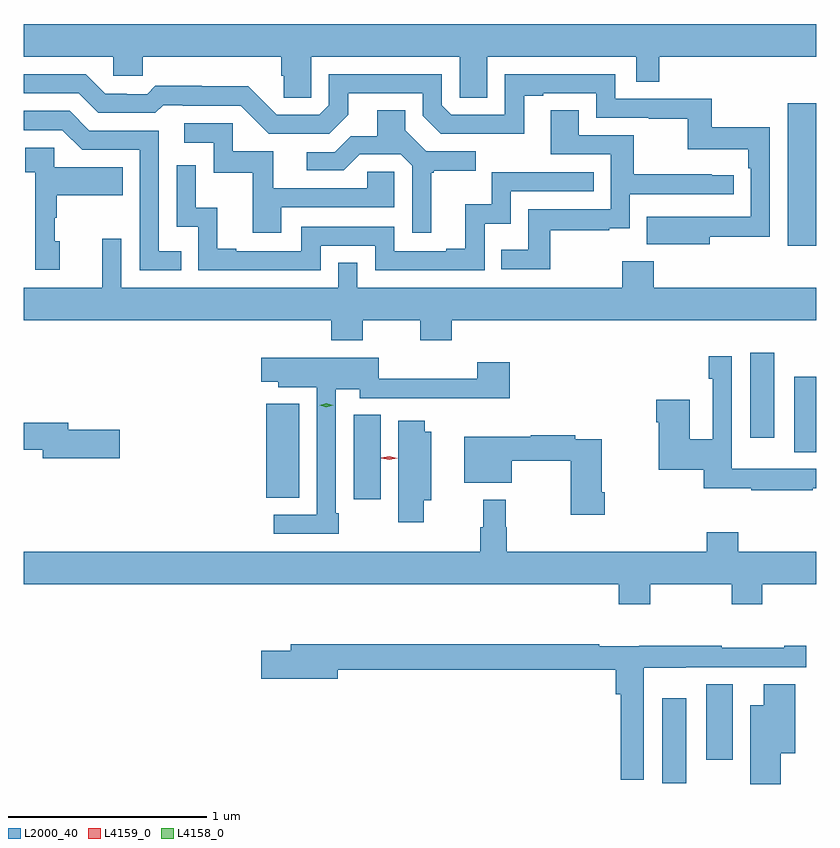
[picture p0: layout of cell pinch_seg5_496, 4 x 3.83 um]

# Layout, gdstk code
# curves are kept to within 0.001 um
import gdstk
lib = gdstk.Library(unit=1e-6, precision=1e-09)
def R(c, l, rs):  # rectangles x0, y0, x1, y1
    for r in rs: c.add(gdstk.rectangle(r[:2], r[2:], *l))
def P(c, l, *ps):  # polygons
    for p in ps: c.add(gdstk.Polygon(p, *l))
L2000_40 = (2000, 40)
L4158_0 = (4158, 0)
L4159_0 = (4159, 0)

pinch_seg5_496 = lib.new_cell('pinch_seg5_496')
R(pinch_seg5_496, L2000_40, [(906.176,838.44,906.298,838.87), (906.398,838.56,906.532,838.94), (904.619,839.874,904.756,840.299), (904.178,839.881,904.345,840.355), (906.842,840.112,906.954,840.493), (906.62,840.183,906.742,840.613), (906.809,841.152,906.954,841.873)])
P(pinch_seg5_496, L2000_40, [(904.404,842.108),(905.154,842.108),(905.154,841.9),(905.293,841.9),(905.293,842.108),(906.045,842.108),(906.045,841.981),(906.161,841.981),(906.161,842.108),(906.954,842.108),(906.954,842.272),(902.954,842.272),(902.954,842.108),(903.405,842.108),(903.405,842.01),(903.555,842.01),(903.555,842.108),(904.253,842.108),(904.253,842.01),(904.267,842.01),(904.267,841.9),(904.404,841.9)],
  [(906.415,841.198),(906.72,841.198),(906.72,841.75),(906.427,841.75),(906.427,841.896),(905.94,841.896),(905.94,842.019),(905.382,842.019),(905.382,841.815),(905.112,841.815),(905.064,841.863),(905.064,842.019),(904.494,842.019),(904.494,841.863),(904.446,841.815),(904.23,841.815),(904.088,841.957),(903.852,841.957),(903.852,841.96),(903.619,841.96),(903.577,841.917),(903.474,841.917),(903.474,841.92),(903.367,841.92),(903.268,842.019),(902.954,842.019),(902.954,841.923),(903.231,841.923),(903.33,841.824),(903.619,841.824),(903.658,841.863),(903.757,841.863),(903.757,841.86),(904.05,841.86),(904.191,841.719),(904.497,841.719),(904.591,841.813),(904.591,841.923),(904.968,841.923),(904.968,841.809),(905.058,841.719),(905.479,841.718),(905.479,841.911),(905.575,841.911),(905.575,841.923),(905.844,841.923),(905.844,841.8),(906.109,841.8),(906.109,841.795),(906.306,841.795),(906.306,841.64),(906.611,841.64),(906.611,841.544),(906.624,841.544),(906.624,841.299),(906.097,841.3),(906.097,841.16),(906.415,841.16)],
  [(905.611,841.23),(905.909,841.23),(905.909,841.241),(906.012,841.241),(906.012,841.413),(906.538,841.413),(906.538,841.509),(906.425,841.509),(906.425,841.514),(906.032,841.514),(906.032,841.71),(905.755,841.71),(905.755,841.838),(905.615,841.838),(905.615,841.614),(905.916,841.614),(905.916,841.338),(905.5,841.338),(905.5,841.132),(905.365,841.132),(905.365,841.035),(905.611,841.035)],
  [(905.011,841.521),(905.023,841.521),(905.023,841.532),(905.236,841.532),(905.236,841.629),(904.986,841.629),(904.879,841.736),(904.879,841.838),(904.739,841.838),(904.739,841.706),(904.604,841.706),(904.524,841.626),(904.383,841.626),(904.383,841.533),(904.57,841.533),(904.651,841.614),(904.857,841.614),(904.914,841.557),(904.914,841.218),(905.011,841.218)],
  [(903.749,841.125),(903.636,841.125),(903.636,841.734),(903.286,841.734),(903.187,841.833),(902.954,841.833),(902.954,841.737),(903.15,841.737),(903.249,841.638),(903.54,841.638),(903.54,841.029),(903.749,841.029)],
  [(904.255,841.347),(904.824,841.347),(904.824,841.527),(904.687,841.527),(904.687,841.443),(904.213,841.443),(904.213,841.629),(904.008,841.629),(904.008,841.77),(903.765,841.77),(903.765,841.674),(903.912,841.674),(903.912,841.521),(904.111,841.521),(904.111,841.218),(904.255,841.218)],
  [(903.136,841.176),(903.111,841.176),(903.111,841.295),(903.121,841.295),(903.121,841.409),(903.455,841.409),(903.455,841.549),(903.108,841.549),(903.108,841.647),(902.961,841.647),(902.961,841.523),(903.012,841.523),(903.012,841.032),(903.136,841.032)],
  [(904.452,841.152),(904.728,841.152),(904.728,841.029),(905.28,841.029),(905.28,841.265),(905.412,841.265),(905.412,841.428),(905.831,841.428),(905.831,841.524),(905.316,841.524),(905.316,841.363),(905.183,841.363),(905.183,841.138),(905.087,841.138),(905.087,841.125),(904.824,841.125),(904.824,841.248),(904.356,841.248),(904.356,841.125),(904.027,841.125),(904.027,841.138),(903.932,841.138),(903.932,841.346),(903.822,841.346),(903.822,841.558),(903.726,841.558),(903.726,841.248),(903.834,841.248),(903.834,841.029),(904.452,841.029)],
  [(904.665,840.776),(904.954,840.776),(904.954,840.677),(905.114,840.677),(905.114,840.776),(906.954,840.776),(906.954,840.94),(906.134,840.94),(906.134,841.075),(905.974,841.075),(905.974,840.94),(904.638,840.94),(904.638,841.067),(904.542,841.067),(904.542,840.94),(903.447,840.94),(903.447,841.189),(903.35,841.189),(903.35,840.94),(902.954,840.94),(902.954,840.776),(904.505,840.776),(904.505,840.677),(904.665,840.677)],
  [(906.935,839.929),(906.954,839.929),(906.954,840.027),(906.738,840.027),(906.738,840.028),(906.528,840.028),(906.528,840.595),(906.412,840.595),(906.412,840.482),(906.432,840.482),(906.432,840.176),(906.316,840.176),(906.316,840.376),(906.146,840.376),(906.146,840.263),(906.158,840.263),(906.158,840.023),(906.386,840.023),(906.386,839.929),(906.625,839.929),(906.625,839.919),(906.935,839.919)],
  [(904.543,839.803),(904.53,839.803),(904.53,840.428),(904.65,840.428),(904.65,840.384),(905.159,840.384),(905.159,840.383),(905.408,840.383),(905.408,840.565),(905.243,840.565),(905.243,840.482),(904.746,840.482),(904.746,840.589),(904.152,840.589),(904.152,840.467),(904.239,840.467),(904.239,840.44),(904.434,840.44),(904.434,839.796),(904.215,839.796),(904.215,839.7),(904.543,839.7)],
  [(904.974,839.87),(905.011,839.87),(905.011,840.214),(904.979,840.214),(904.979,840.271),(904.844,840.271),(904.844,839.757),(904.974,839.757)],
  [(903.439,840.224),(903.178,840.224),(903.178,840.26),(902.954,840.26),(902.954,840.124),(903.05,840.124),(903.05,840.082),(903.439,840.082)],
  [(905.885,839.908),(905.872,839.908),(905.872,840.177),(905.738,840.177),(905.738,840.197),(905.512,840.197),(905.512,840.19),(905.177,840.19),(905.177,839.957),(905.416,839.957),(905.416,840.069),(905.714,840.069),(905.714,839.796),(905.885,839.796)],
  [(906.117,839.444),(906.526,839.444),(906.526,839.345),(906.681,839.345),(906.681,839.444),(906.954,839.444),(906.954,839.608),(906.561,839.608),(906.561,839.707),(906.401,839.707),(906.401,839.608),(905.393,839.608),(905.393,839.732),(905.386,839.732),(905.386,839.872),(905.272,839.872),(905.272,839.732),(905.257,839.732),(905.257,839.608),(902.954,839.608),(902.954,839.444),(905.957,839.444),(905.957,839.345),(906.117,839.345)],
  [(906.084,839.024),(906.294,839.024),(906.294,839.025),(906.904,839.025),(906.904,839.134),(906.791,839.134),(906.791,839.124),(906.476,839.124),(906.476,839.134),(906.06,839.134),(906.06,839.132),(905.858,839.132),(905.858,839.143),(904.301,839.143),(904.301,839.109),(904.152,839.109),(904.152,838.967),(904.54,838.967),(904.54,839.014),(905.942,839.014),(905.942,838.889),(905.968,838.889),(905.968,838.458),(906.084,838.458)],
  [(906.775,838.592),(906.847,838.592),(906.847,838.94),(906.689,838.94),(906.689,838.834),(906.62,838.834),(906.62,838.437),(906.775,838.437)])
P(pinch_seg5_496, L4158_0, [(904.482,840.339),(904.447,840.349),(904.447,840.349),(904.447,840.349),(904.482,840.359),(904.517,840.349),(904.517,840.349),(904.517,840.349)])
P(pinch_seg5_496, L4159_0, [(904.799,840.072),(904.758,840.082),(904.758,840.083),(904.758,840.083),(904.8,840.092),(904.84,840.082),(904.84,840.082),(904.84,840.081)])

lib.write_gds('pinch_seg5_496.gds')
